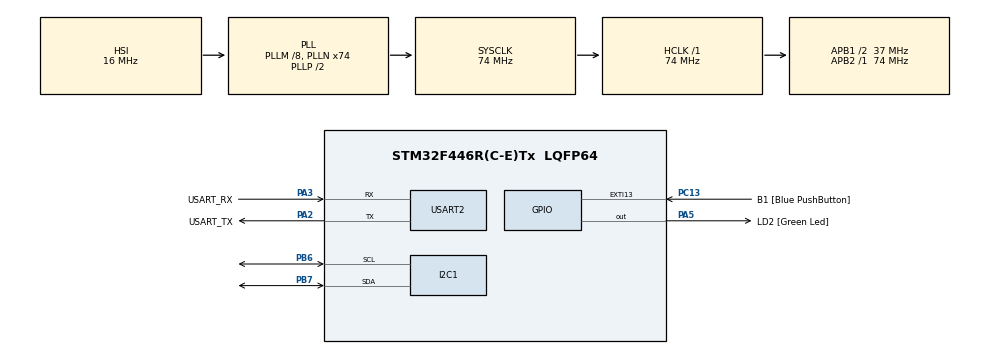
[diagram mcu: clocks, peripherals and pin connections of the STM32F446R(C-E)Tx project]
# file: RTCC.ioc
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Mcu.Family=STM32F4
Mcu.Name=STM32F446R(C-E)Tx
Mcu.Package=LQFP64
NVIC.I2C1_ER_IRQn=true\:0\:0\:false\:false\:true\:true\:true\:true
NVIC.I2C1_EV_IRQn=true\:0\:0\:false\:false\:true\:true\:true\:true
NVIC.PriorityGroup=NVIC_PRIORITYGROUP_0
PA13.GPIO_Label=TMS
PA13.Mode=Serial_Wire
PA13.Signal=SYS_JTMS-SWDIO
PA14.GPIO_Label=TCK
PA14.Mode=Serial_Wire
PA14.Signal=SYS_JTCK-SWCLK
PA2.GPIO_Label=USART_TX
PA2.Mode=Asynchronous
PA2.Signal=USART2_TX
PA3.GPIO_Label=USART_RX
PA3.Mode=Asynchronous
PA3.Signal=USART2_RX
PA5.GPIO_Label=LD2 [Green Led]
PA5.Signal=GPIO_Output
PB3.GPIO_Label=SWO
PB3.Signal=SYS_JTDO-SWO
PB6.Mode=I2C
PB6.Signal=I2C1_SCL
PB7.Mode=I2C
PB7.Signal=I2C1_SDA
PC13.GPIO_Label=B1 [Blue PushButton]
PC13.GPIO_ModeDefaultEXTI=GPIO_MODE_IT_FALLING
PC13.Signal=GPXTI13
PC14-OSC32_IN.Mode=LSE-External-Oscillator
PC14-OSC32_IN.Signal=RCC_OSC32_IN
PC15-OSC32_OUT.Mode=LSE-External-Oscillator
PC15-OSC32_OUT.Signal=RCC_OSC32_OUT
PH0-OSC_IN.Mode=HSE-External-Oscillator
PH0-OSC_IN.Signal=RCC_OSC_IN
PH1-OSC_OUT.Mode=HSE-External-Oscillator
PH1-OSC_OUT.Signal=RCC_OSC_OUT
ProjectManager.HeapSize=0x200
ProjectManager.StackSize=0x400
ProjectManager.TargetToolchain=STM32CubeIDE
RCC.48MHZClocksFreq_Value=84000000
RCC.AHBFreq_Value=74000000
RCC.APB1CLKDivider=RCC_HCLK_DIV2
RCC.APB1Freq_Value=37000000
RCC.APB1TimFreq_Value=74000000
RCC.APB2Freq_Value=74000000
RCC.APB2TimFreq_Value=74000000
RCC.CortexFreq_Value=74000000
RCC.FLatency-AdvancedSettings=FLASH_LATENCY_2
RCC.HCLKFreq_Value=74000000
RCC.HSE_VALUE=8000000
RCC.HSI_VALUE=16000000
RCC.PLLM=8
RCC.PLLN=74
RCC.SYSCLKFreq_VALUE=74000000
RCC.SYSCLKSource=RCC_SYSCLKSOURCE_PLLCLK
RCC.USBFreq_Value=74000000
RCC.VCOOutputFreq_Value=148000000
USART2.VirtualMode=VM_ASYNC
board=NUCLEO-F446RE

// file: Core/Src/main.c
/* USER CODE BEGIN Header */
/**
  ******************************************************************************
  * @file           : main.c
  * @brief          : Main program body
  ******************************************************************************
  * @attention
  *
  * Copyright (c) 2024 STMicroelectronics.
  * All rights reserved.
  *
  * This software is licensed under terms that can be found in the LICENSE file
  * in the root directory of this software component.
  * If no LICENSE file comes with this software, it is provided AS-IS.
  *
  ******************************************************************************
  */
/* USER CODE END Header */
#include "main.h"

/* USER CODE BEGIN Includes */
#include "stm32f4xx_hal.h"
#include "stdio.h"

/* USER CODE END Includes */

/* USER CODE BEGIN PD */
#define DS1307_ADDR (0x68 << 1)

/* USER CODE END PD */

I2C_HandleTypeDef hi2c1;

UART_HandleTypeDef huart2;

void SystemClock_Config(void);
static void MX_GPIO_Init(void);
static void MX_USART2_UART_Init(void);
static void MX_I2C1_Init(void);
/* USER CODE BEGIN PFP */
void readDS1307(uint8_t *data, uint8_t len);
void writeDS1307(uint8_t year, uint8_t month, uint8_t date, uint8_t dayOfWeek,
		uint8_t hours, uint8_t minutes, uint8_t seconds);
uint8_t dec2bcd(uint8_t dec);
uint8_t bcd2dec(uint8_t bcd);

/* USER CODE END PFP */

/* USER CODE BEGIN 0 */
void readDS1307(uint8_t *data, uint8_t len) {
	HAL_I2C_Mem_Read(&hi2c1, DS1307_ADDR, 0x00, I2C_MEMADD_SIZE_8BIT, data, len,
	HAL_MAX_DELAY);
}
uint8_t dec2bcd(uint8_t dec) {
	return ((dec / 10) << 4) | (dec % 10);
}

uint8_t bcd2dec(uint8_t bcd) {
	return ((bcd >> 4) * 10) + (bcd & 0x0F);
}
void writeDS1307(uint8_t year, uint8_t month, uint8_t date, uint8_t dayOfWeek,
		uint8_t hours, uint8_t minutes, uint8_t seconds) {
	uint8_t data[7];
	data[0] = (seconds / 10) << 4 | (seconds % 10);
	data[1] = (minutes / 10) << 4 | (minutes % 10);
	data[2] = (hours / 10) << 4 | (hours % 10);
	data[3] = dayOfWeek;
	data[4] = (date / 10) << 4 | (date % 10);
	data[5] = (month / 10) << 4 | (month % 10);
	data[6] = (year / 10) << 4 | (year % 10);
	HAL_I2C_Mem_Write(&hi2c1, DS1307_ADDR, 0x00, I2C_MEMADD_SIZE_8BIT, data, 7,
	HAL_MAX_DELAY);
}

const char* dayOfWeekToString(uint8_t dayOfWeek) {
	switch (dayOfWeek) {
	case 1:
		return "Sunday";
	case 2:
		return "Monday";
	case 3:
		return "Tuesday";
	case 4:
		return "Wednesday";
	case 5:
		return "Thursday";
	case 6:
		return "Friday";
	case 7:
		return "Saturday";
	default:
		return "Invalid day";
	}
}

/* USER CODE END 0 */

int main(void)
{

  /* MCU Configuration--------------------------------------------------------*/

  /* Reset of all peripherals, Initializes the Flash interface and the Systick. */
  HAL_Init();

  /* Configure the system clock */
  SystemClock_Config();

  /* Initialize all configured peripherals */
  MX_GPIO_Init();
  MX_USART2_UART_Init();
  MX_I2C1_Init();
  /* USER CODE BEGIN 2 */
  uint8_t data[7];
  	readDS1307(data, 7);
  	// Set CH bit to 0 to enable the oscillator
  	data[0] &= ~(1 << 7); // Clear the CH bit
  	writeDS1307(data[6], data[5], data[4], data[3], data[2], data[1], data[0]);
  	writeDS1307(24, 4, 5, 6, 11, 9, 30);
  	HAL_Delay(100);

  /* USER CODE END 2 */

  /* Infinite loop */
  while (1)
  {

    /* USER CODE BEGIN 3 */
	  // Read the updated time and date
	  		readDS1307(data, 7);

	  		printf("Raw Data: ");
	  		for (int i = 0; i < 7; i++) {
	  			printf("%02X ", data[i]);
	  		}
	  		printf("\n");

	  		// Validate and print date
	  		uint8_t day = bcd2dec(data[4]);
	  		uint8_t month = bcd2dec(data[5]);
	  		uint8_t year = bcd2dec(data[6]);
	  		if (day <= 31 && month <= 12 && year <= 99) {
	  			printf("Current Date: %02d/%02d/20%02d\n", day, month, year);
	  		} else {
	  			printf("Error: Invalid date received from RTC.\n");
	  		}

	  		uint8_t seconds = bcd2dec(data[0] & 0x7F);
	  		uint8_t minutes = bcd2dec(data[1]);
	  		uint8_t hours = bcd2dec(data[2] & 0x3F);
	  		if (seconds < 60 && minutes < 60 && hours < 24) {
	  			printf("Current Time: %02d:%02d:%02d\n", hours, minutes, seconds);
	  		} else {
	  			printf("Error: Invalid time received from RTC.\n");
	  		}
	  		uint8_t dayOfWeek = bcd2dec(data[3]);
	  		printf("Day of the week: %s\n", dayOfWeekToString(dayOfWeek));

	  		HAL_Delay(1000);
  }
  /* USER CODE END 3 */
}

void SystemClock_Config(void)
{
  RCC_OscInitTypeDef RCC_OscInitStruct = {0};
  RCC_ClkInitTypeDef RCC_ClkInitStruct = {0};

  /** Configure the main internal regulator output voltage
  */
  __HAL_RCC_PWR_CLK_ENABLE();
  __HAL_PWR_VOLTAGESCALING_CONFIG(PWR_REGULATOR_VOLTAGE_SCALE3);

  /** Initializes the RCC Oscillators according to the specified parameters
  * in the RCC_OscInitTypeDef structure.
  */
  RCC_OscInitStruct.OscillatorType = RCC_OSCILLATORTYPE_HSI;
  RCC_OscInitStruct.HSIState = RCC_HSI_ON;
  RCC_OscInitStruct.HSICalibrationValue = RCC_HSICALIBRATION_DEFAULT;
  RCC_OscInitStruct.PLL.PLLState = RCC_PLL_ON;
  RCC_OscInitStruct.PLL.PLLSource = RCC_PLLSOURCE_HSI;
  RCC_OscInitStruct.PLL.PLLM = 8;
  RCC_OscInitStruct.PLL.PLLN = 74;
  RCC_OscInitStruct.PLL.PLLP = RCC_PLLP_DIV2;
  RCC_OscInitStruct.PLL.PLLQ = 2;
  RCC_OscInitStruct.PLL.PLLR = 2;
  if (HAL_RCC_OscConfig(&RCC_OscInitStruct) != HAL_OK)
  {
    Error_Handler();
  }

  /** Initializes the CPU, AHB and APB buses clocks
  */
  RCC_ClkInitStruct.ClockType = RCC_CLOCKTYPE_HCLK|RCC_CLOCKTYPE_SYSCLK
                              |RCC_CLOCKTYPE_PCLK1|RCC_CLOCKTYPE_PCLK2;
  RCC_ClkInitStruct.SYSCLKSource = RCC_SYSCLKSOURCE_PLLCLK;
  RCC_ClkInitStruct.AHBCLKDivider = RCC_SYSCLK_DIV1;
  RCC_ClkInitStruct.APB1CLKDivider = RCC_HCLK_DIV2;
  RCC_ClkInitStruct.APB2CLKDivider = RCC_HCLK_DIV1;

  if (HAL_RCC_ClockConfig(&RCC_ClkInitStruct, FLASH_LATENCY_2) != HAL_OK)
  {
    Error_Handler();
  }
}

static void MX_I2C1_Init(void)
{

  hi2c1.Instance = I2C1;
  hi2c1.Init.ClockSpeed = 100000;
  hi2c1.Init.DutyCycle = I2C_DUTYCYCLE_2;
  hi2c1.Init.OwnAddress1 = 0;
  hi2c1.Init.AddressingMode = I2C_ADDRESSINGMODE_7BIT;
  hi2c1.Init.DualAddressMode = I2C_DUALADDRESS_DISABLE;
  hi2c1.Init.OwnAddress2 = 0;
  hi2c1.Init.GeneralCallMode = I2C_GENERALCALL_DISABLE;
  hi2c1.Init.NoStretchMode = I2C_NOSTRETCH_DISABLE;
  if (HAL_I2C_Init(&hi2c1) != HAL_OK)
  {
    Error_Handler();
  }

}

static void MX_USART2_UART_Init(void)
{

  huart2.Instance = USART2;
  huart2.Init.BaudRate = 115200;
  huart2.Init.WordLength = UART_WORDLENGTH_8B;
  huart2.Init.StopBits = UART_STOPBITS_1;
  huart2.Init.Parity = UART_PARITY_NONE;
  huart2.Init.Mode = UART_MODE_TX_RX;
  huart2.Init.HwFlowCtl = UART_HWCONTROL_NONE;
  huart2.Init.OverSampling = UART_OVERSAMPLING_16;
  if (HAL_UART_Init(&huart2) != HAL_OK)
  {
    Error_Handler();
  }

}

static void MX_GPIO_Init(void)
{
  GPIO_InitTypeDef GPIO_InitStruct = {0};

  /* GPIO Ports Clock Enable */
  __HAL_RCC_GPIOC_CLK_ENABLE();
  __HAL_RCC_GPIOH_CLK_ENABLE();
  __HAL_RCC_GPIOA_CLK_ENABLE();
  __HAL_RCC_GPIOB_CLK_ENABLE();

  /*Configure GPIO pin Output Level */
  HAL_GPIO_WritePin(LD2_GPIO_Port, LD2_Pin, GPIO_PIN_RESET);

  /*Configure GPIO pin : B1_Pin */
  GPIO_InitStruct.Pin = B1_Pin;
  GPIO_InitStruct.Mode = GPIO_MODE_IT_FALLING;
  GPIO_InitStruct.Pull = GPIO_NOPULL;
  HAL_GPIO_Init(B1_GPIO_Port, &GPIO_InitStruct);

  /*Configure GPIO pin : LD2_Pin */
  GPIO_InitStruct.Pin = LD2_Pin;
  GPIO_InitStruct.Mode = GPIO_MODE_OUTPUT_PP;
  GPIO_InitStruct.Pull = GPIO_NOPULL;
  GPIO_InitStruct.Speed = GPIO_SPEED_FREQ_LOW;
  HAL_GPIO_Init(LD2_GPIO_Port, &GPIO_InitStruct);

}

void Error_Handler(void)
{
  __disable_irq();
  while (1)
  {
  }
}
